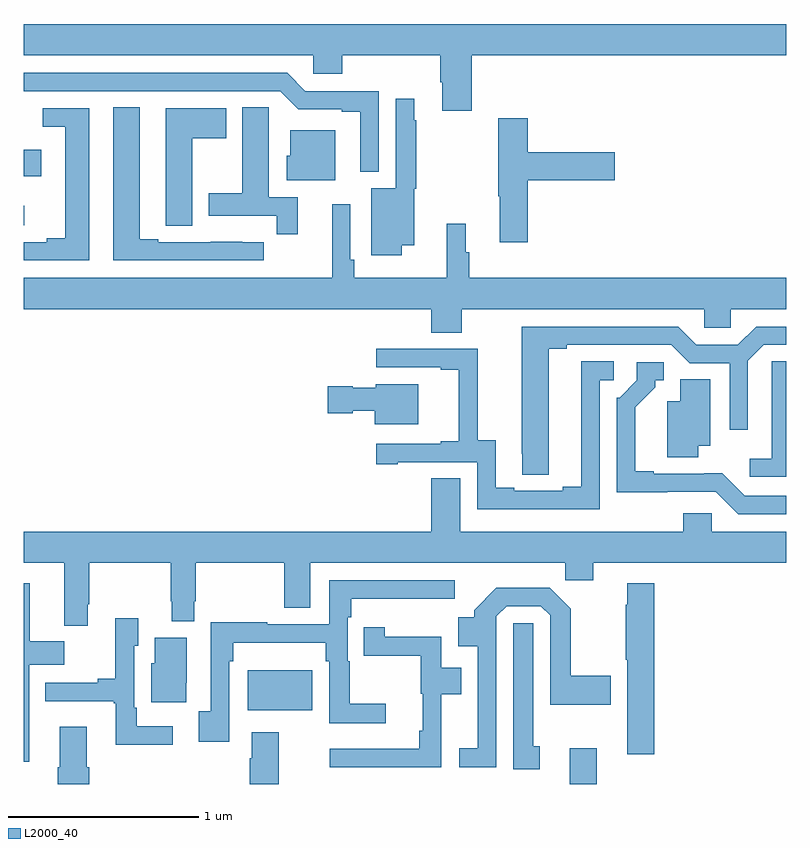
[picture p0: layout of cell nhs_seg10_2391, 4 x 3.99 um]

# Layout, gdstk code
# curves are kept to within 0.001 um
import gdstk
lib = gdstk.Library(unit=1e-6, precision=1e-09)
def R(c, l, rs):  # rectangles x0, y0, x1, y1
    for r in rs: c.add(gdstk.rectangle(r[:2], r[2:], *l))
def P(c, l, *ps):  # polygons
    for p in ps: c.add(gdstk.Polygon(p, *l))
L2000_40 = (2000, 40)

nhs_seg10_2391 = lib.new_cell('nhs_seg10_2391')
R(nhs_seg10_2391, L2000_40, [(241.865,1288.5,242.005,1288.687), (240.176,1288.886,240.514,1289.098), (239,1291.431,239.002,1291.533), (239,1291.688,239.092,1291.828)])
P(nhs_seg10_2391, L2000_40, [(241.349,1292.324),(243,1292.324),(243,1292.488),(239,1292.488),(239,1292.324),(240.519,1292.324),(240.519,1292.226),(240.671,1292.226),(240.671,1292.324),(241.184,1292.324),(241.184,1292.182),(241.196,1292.182),(241.196,1292.034),(241.349,1292.034)],
  [(240.861,1292.136),(240.477,1292.136),(240.381,1292.232),(239,1292.232),(239,1292.136),(240.345,1292.136),(240.441,1292.04),(240.668,1292.04),(240.668,1292.028),(240.764,1292.028),(240.764,1291.712),(240.861,1291.712)],
  [(240.982,1291.328),(241.048,1291.328),(241.048,1291.623),(241.06,1291.623),(241.06,1291.982),(241.048,1291.982),(241.048,1292.095),(240.951,1292.095),(240.951,1291.627),(240.824,1291.627),(240.824,1291.275),(240.982,1291.275)],
  [(240.259,1291.344),(240.146,1291.344),(240.146,1291.345),(239.98,1291.345),(239.98,1291.344),(239.704,1291.344),(239.704,1291.359),(239.608,1291.359),(239.608,1292.051),(239.468,1292.051),(239.468,1291.248),(240.259,1291.248)],
  [(240.437,1291.578),(240.286,1291.578),(240.286,1291.94),(240.285,1291.94),(240.285,1292.051),(240.146,1292.051),(240.146,1291.599),(239.969,1291.599),(239.969,1291.482),(240.328,1291.482),(240.328,1291.386),(240.437,1291.386)],
  [(239.884,1291.888),(240.061,1291.888),(240.061,1292.047),(239.744,1292.047),(239.744,1291.537),(239.745,1291.537),(239.745,1291.429),(239.884,1291.429)],
  [(239.344,1292.046),(239.1,1292.046),(239.1,1291.95),(239.216,1291.95),(239.216,1291.364),(239.12,1291.364),(239.12,1291.344),(239,1291.344),(239,1291.248),(239.344,1291.248)],
  [(241.643,1291.667),(242.101,1291.667),(242.101,1291.814),(241.643,1291.814),(241.643,1291.993),(241.489,1291.993),(241.489,1291.583),(241.496,1291.583),(241.496,1291.344),(241.643,1291.344)],
  [(240.634,1291.93),(240.398,1291.93),(240.398,1291.797),(240.38,1291.797),(240.38,1291.667),(240.634,1291.667)],
  [(241.299,1290.992),(242.571,1290.992),(242.571,1290.894),(242.709,1290.894),(242.709,1290.992),(243,1290.992),(243,1291.156),(241.337,1291.156),(241.337,1291.29),(241.318,1291.29),(241.318,1291.441),(241.219,1291.441),(241.219,1291.156),(240.734,1291.156),(240.734,1291.252),(240.714,1291.252),(240.714,1291.543),(240.617,1291.543),(240.617,1291.156),(239,1291.156),(239,1290.992),(241.139,1290.992),(241.139,1290.868),(241.299,1290.868)],
  [(241.753,1290.784),(241.849,1290.784),(241.849,1290.804),(242.397,1290.804),(242.493,1290.708),(242.703,1290.708),(242.703,1290.36),(242.799,1290.36),(242.799,1290.72),(242.883,1290.804),(243,1290.804),(243,1290.9),(242.843,1290.9),(242.747,1290.804),(242.529,1290.804),(242.433,1290.9),(241.613,1290.9),(241.614,1290.124),(241.753,1290.124)],
  [(242.022,1290.618),(242.095,1290.618),(242.095,1290.719),(241.925,1290.719),(241.925,1290.059),(241.829,1290.059),(241.829,1290.039),(241.573,1290.039),(241.573,1290.054),(241.477,1290.054),(241.477,1290.305),(241.383,1290.305),(241.383,1290.783),(240.849,1290.783),(240.849,1290.687),(241.187,1290.687),(241.187,1290.675),(241.283,1290.675),(241.283,1290.298),(241.187,1290.298),(241.187,1290.285),(240.849,1290.285),(240.849,1290.177),(240.961,1290.177),(240.961,1290.189),(241.38,1290.189),(241.38,1289.943),(242.022,1289.943)],
  [(243,1290.719),(242.925,1290.719),(242.925,1290.611),(242.924,1290.611),(242.924,1290.208),(242.808,1290.208),(242.808,1290.111),(243,1290.111)],
  [(243,1290.012),(242.784,1290.012),(242.666,1290.13),(242.305,1290.129),(242.305,1290.142),(242.209,1290.142),(242.209,1290.478),(242.314,1290.583),(242.314,1290.618),(242.359,1290.618),(242.359,1290.714),(242.217,1290.714),(242.217,1290.618),(242.127,1290.528),(242.112,1290.528),(242.112,1290.032),(242.631,1290.033),(242.748,1289.916),(243,1289.916)],
  [(242.539,1290.275),(242.602,1290.275),(242.602,1290.623),(242.444,1290.623),(242.444,1290.508),(242.375,1290.508),(242.375,1290.214),(242.539,1290.214)],
  [(241.069,1290.598),(240.846,1290.598),(240.846,1290.58),(240.726,1290.58),(240.726,1290.588),(240.594,1290.588),(240.594,1290.446),(240.726,1290.446),(240.726,1290.458),(240.842,1290.458),(240.842,1290.389),(241.069,1290.389)],
  [(239.335,1289.443),(239.343,1289.443),(239.343,1289.66),(239.77,1289.66),(239.77,1289.458),(239.777,1289.458),(239.777,1289.353),(239.893,1289.353),(239.893,1289.458),(239.901,1289.458),(239.901,1289.66),(240.367,1289.66),(240.367,1289.424),(240.502,1289.424),(240.502,1289.66),(241.84,1289.66),(241.84,1289.57),(241.987,1289.57),(241.987,1289.66),(243,1289.66),(243,1289.824),(242.61,1289.824),(242.61,1289.922),(242.459,1289.922),(242.459,1289.824),(241.291,1289.824),(241.291,1290.104),(241.139,1290.104),(241.139,1289.824),(239,1289.824),(239,1289.66),(239.213,1289.66),(239.213,1289.331),(239.335,1289.331)],
  [(240.078,1289.144),(240.098,1289.144),(240.098,1289.24),(240.583,1289.24),(240.583,1289.144),(240.603,1289.144),(240.603,1288.82),(240.898,1288.82),(240.898,1288.92),(240.709,1288.92),(240.709,1289.144),(240.699,1289.144),(240.699,1289.375),(240.719,1289.375),(240.719,1289.471),(241.261,1289.471),(241.261,1289.568),(240.603,1289.568),(240.603,1289.337),(240.278,1289.337),(240.278,1289.35),(239.982,1289.35),(239.982,1288.881),(239.919,1288.881),(239.919,1288.722),(240.078,1288.722)],
  [(239.029,1288.883),(239.028,1288.883),(239.028,1289.126),(239.213,1289.126),(239.213,1289.248),(239.03,1289.248),(239.03,1289.554),(239,1289.554),(239,1288.617),(239.029,1288.617)],
  [(242.309,1289.554),(242.165,1289.554),(242.165,1289.441),(242.158,1289.441),(242.158,1289.152),(242.165,1289.152),(242.165,1288.656),(242.309,1288.656)],
  [(241.479,1289.379),(241.533,1289.433),(241.713,1289.433),(241.761,1289.385),(241.761,1288.916),(242.08,1288.916),(242.08,1289.069),(241.87,1289.069),(241.87,1289.42),(241.76,1289.53),(241.48,1289.53),(241.363,1289.413),(241.363,1289.374),(241.28,1289.374),(241.28,1289.222),(241.383,1289.222),(241.383,1288.688),(241.284,1288.688),(241.284,1288.587),(241.479,1288.587)],
  [(239.782,1288.803),(239.593,1288.803),(239.593,1288.9),(239.58,1288.9),(239.58,1289.226),(239.599,1289.226),(239.599,1289.371),(239.479,1289.371),(239.479,1289.051),(239.387,1289.051),(239.387,1289.031),(239.113,1289.031),(239.113,1288.934),(239.472,1288.934),(239.472,1288.923),(239.483,1288.923),(239.483,1288.706),(239.782,1288.706)],
  [(241.708,1288.698),(241.672,1288.698),(241.672,1289.343),(241.568,1289.343),(241.568,1288.578),(241.708,1288.578)],
  [(241.191,1288.97),(241.294,1288.97),(241.294,1289.11),(241.191,1289.11),(241.191,1289.273),(240.895,1289.273),(240.895,1289.323),(240.784,1289.323),(240.784,1289.174),(241.083,1289.174),(241.083,1288.974),(241.094,1288.974),(241.094,1288.78),(241.075,1288.78),(241.075,1288.684),(240.606,1288.684),(240.606,1288.587),(241.191,1288.587)],
  [(239.853,1289.032),(239.854,1289.032),(239.854,1289.268),(239.687,1289.268),(239.687,1289.133),(239.669,1289.133),(239.669,1288.929),(239.853,1288.929)],
  [(239.342,1288.588),(239.329,1288.588),(239.329,1288.801),(239.189,1288.801),(239.189,1288.588),(239.177,1288.588),(239.177,1288.5),(239.342,1288.5)],
  [(240.337,1288.771),(240.197,1288.771),(240.197,1288.634),(240.185,1288.634),(240.185,1288.5),(240.337,1288.5)])

lib.write_gds('nhs_seg10_2391.gds')
